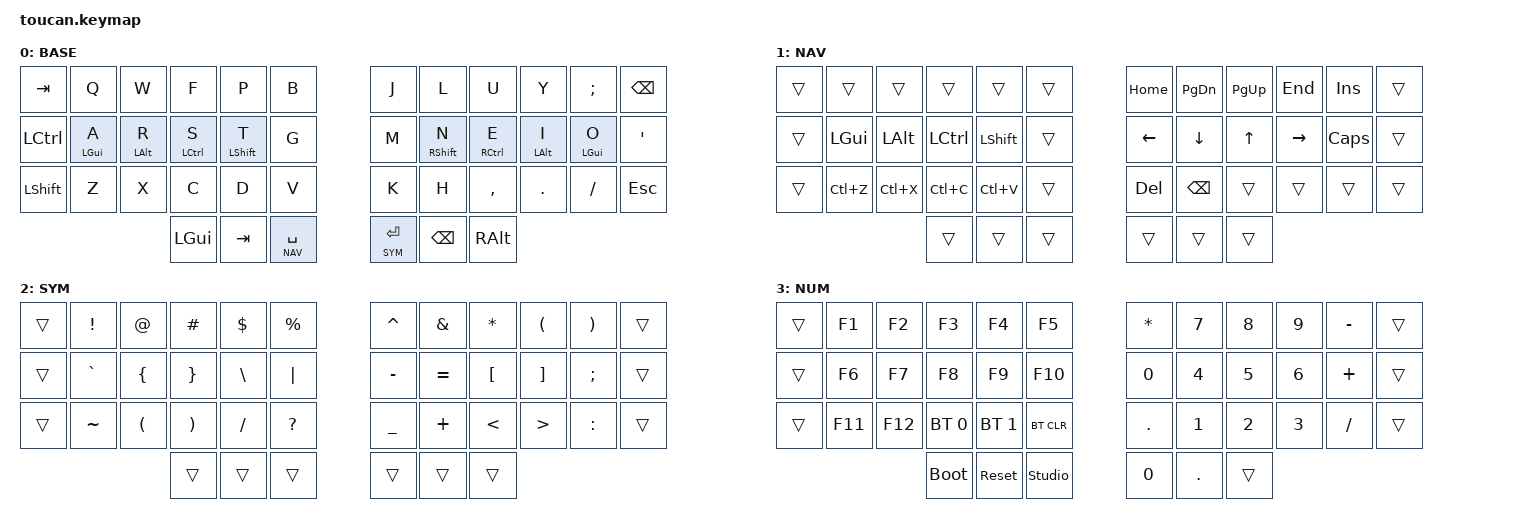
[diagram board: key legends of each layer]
/*
 * beekeeb Toucan — Colemak-DH keymap with homerow mods + 4 layers
 * ────────────────────────────────────────────────────────────────────────
 * This is ZMK FIRMWARE config, not nvim config. To use it:
 *   1. Fork github.com/beekeeb/zmk-keyboard-toucan
 *   2. Copy this file to  config/toucan.keymap  in your fork (overwrite)
 *   3. git push → GitHub Actions builds left/right .uf2 → flash both halves
 * Edit live with ZMK Studio (zmk.studio) once flashed.
 *
 * Physical key positions (used by hold-trigger-key-positions below):
 *
 *   0   1   2   3   4   5         6   7   8   9  10  11
 *  12  13  14  15  16  17        18  19  20  21  22  23
 *  24  25  26  27  28  29        30  31  32  33  34  35
 *              36  37  38        39  40  41
 *
 * Base layer (Colemak Mod-DH). Homerow mods on the home row (GACS order):
 *   left  A=GUI R=ALT S=CTRL T=SHIFT     right  N=SHIFT E=CTRL I=ALT O=GUI
 * The outer pinky column keeps a real CTRL/SHIFT as a backup to the
 * homerow mods, plus TAB/BSPC/'/ESC.
 */

#include <behaviors.dtsi>
#include <dt-bindings/zmk/keys.h>
#include <dt-bindings/zmk/bt.h>

#define BASE 0
#define NAV  1
#define SYM  2
#define NUM  3

// Position groups for positional (per-hand) homerow mods.
// A homerow mod only acts as a *hold* if a key on the OPPOSITE hand (or a
// thumb) is pressed — this kills same-hand misfires while typing fast.
#define KEYS_L 0 1 2 3 4 5 12 13 14 15 16 17 24 25 26 27 28 29
#define KEYS_R 6 7 8 9 10 11 18 19 20 21 22 23 30 31 32 33 34 35
#define THUMBS 36 37 38 39 40 41

/ {
    behaviors {
        // urob-style "timeless" homerow mods — balanced flavor, positional,
        // require-prior-idle to suppress mods during fast rolls.
        hml: home_row_mod_left {
            compatible = "zmk,behavior-hold-tap";
            #binding-cells = <2>;
            flavor = "balanced";
            tapping-term-ms = <280>;
            quick-tap-ms = <175>;
            require-prior-idle-ms = <150>;
            hold-trigger-key-positions = <KEYS_R THUMBS>;
            hold-trigger-on-release;
            bindings = <&kp>, <&kp>;
        };
        hmr: home_row_mod_right {
            compatible = "zmk,behavior-hold-tap";
            #binding-cells = <2>;
            flavor = "balanced";
            tapping-term-ms = <280>;
            quick-tap-ms = <175>;
            require-prior-idle-ms = <150>;
            hold-trigger-key-positions = <KEYS_L THUMBS>;
            hold-trigger-on-release;
            bindings = <&kp>, <&kp>;
        };
    };

    conditional_layers {
        compatible = "zmk,conditional-layers";
        // Hold both thumb layer-keys (NAV + SYM) → NUM.
        tri_layer {
            if-layers = <NAV SYM>;
            then-layer = <NUM>;
        };
    };

    keymap {
        compatible = "zmk,keymap";

        base {
            display-name = "BASE";
            bindings = <
&kp TAB    &kp Q        &kp W        &kp F         &kp P        &kp B        &kp J        &kp L         &kp U         &kp Y        &kp SEMI     &kp BSPC
&kp LCTRL  &hml LGUI A  &hml LALT R  &hml LCTRL S  &hml LSHFT T &kp G        &kp M        &hmr RSHFT N  &hmr RCTRL E  &hmr LALT I  &hmr LGUI O  &kp SQT
&kp LSHFT  &kp Z        &kp X        &kp C         &kp D        &kp V        &kp K        &kp H         &kp COMMA     &kp DOT      &kp FSLH     &kp ESC
                                     &kp LGUI      &kp TAB      &lt NAV SPACE  &lt SYM RET &kp BSPC     &kp RALT
            >;
        };

        nav {
            display-name = "NAV";
            bindings = <
&trans     &trans       &trans       &trans        &trans       &trans       &kp HOME     &kp PG_DN     &kp PG_UP     &kp END      &kp INS      &trans
&trans     &kp LGUI     &kp LALT     &kp LCTRL     &kp LSHFT    &trans       &kp LEFT     &kp DOWN      &kp UP        &kp RIGHT    &kp CAPS     &trans
&trans     &kp LC(Z)    &kp LC(X)    &kp LC(C)     &kp LC(V)    &trans       &kp DEL      &kp BSPC      &trans        &trans       &trans       &trans
                                     &trans        &trans       &trans         &trans      &trans       &trans
            >;
        };

        sym {
            display-name = "SYM";
            bindings = <
&trans     &kp EXCL     &kp AT       &kp HASH      &kp DLLR     &kp PRCNT    &kp CARET    &kp AMPS      &kp ASTRK     &kp LPAR     &kp RPAR     &trans
&trans     &kp GRAVE    &kp LBRC     &kp RBRC      &kp BSLH     &kp PIPE     &kp MINUS    &kp EQUAL     &kp LBKT      &kp RBKT     &kp SEMI     &trans
&trans     &kp TILDE    &kp LPAR     &kp RPAR      &kp FSLH     &kp QMARK    &kp UNDER    &kp PLUS      &kp LT        &kp GT       &kp COLON    &trans
                                     &trans        &trans       &trans         &trans      &trans       &trans
            >;
        };

        num {
            display-name = "NUM";
            bindings = <
&trans     &kp F1       &kp F2       &kp F3        &kp F4       &kp F5       &kp ASTRK    &kp N7        &kp N8        &kp N9       &kp MINUS    &trans
&trans     &kp F6       &kp F7       &kp F8        &kp F9       &kp F10      &kp N0       &kp N4        &kp N5        &kp N6       &kp PLUS     &trans
&trans     &kp F11      &kp F12      &bt BT_SEL 0  &bt BT_SEL 1 &bt BT_CLR   &kp DOT      &kp N1        &kp N2        &kp N3       &kp FSLH     &trans
                                     &bootloader   &sys_reset   &studio_unlock &kp N0      &kp DOT      &trans
            >;
        };

        // Reserved so ZMK Studio can add layers at runtime. Leave as-is.
        extra_1 { status = "reserved"; };
        extra_2 { status = "reserved"; };
        extra_3 { status = "reserved"; };
    };
};
